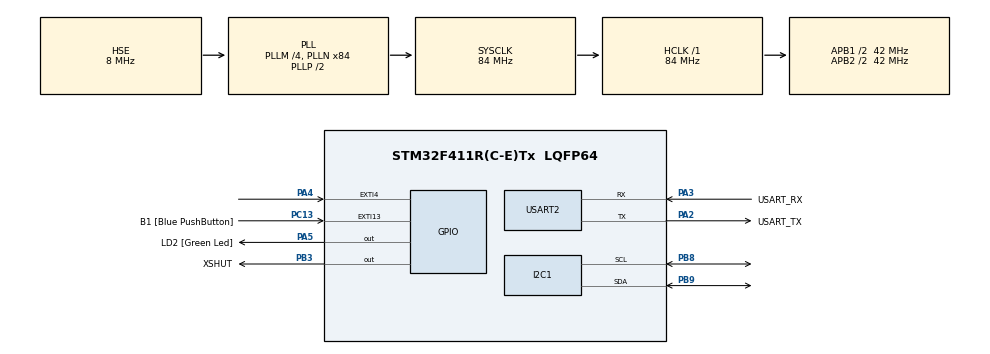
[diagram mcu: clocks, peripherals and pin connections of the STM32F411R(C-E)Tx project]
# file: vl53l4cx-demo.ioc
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Mcu.Family=STM32F4
RCC.PLLSourceVirtual=RCC_PLLSOURCE_HSE
PC15-OSC32_OUT.Mode=LSE-External-Oscillator
NVIC.EXTI4_IRQn=true\:1\:0\:true\:false\:true\:true\:true
RCC.CortexFreq_Value=84000000
PC13-ANTI_TAMP.GPIO_Label=B1 [Blue PushButton]
PA14.GPIO_Label=TCK
PH1\ -\ OSC_OUT.Mode=HSE-External-Clock-Source
RCC.APB1CLKDivider=RCC_HCLK_DIV2
PC14-OSC32_IN.Signal=RCC_OSC32_IN
RCC.SYSCLKSource=RCC_SYSCLKSOURCE_PLLCLK
ProjectManager.StackSize=0x400
PA13.Signal=SYS_JTMS-SWDIO
PA3.Mode=Asynchronous
PH0\ -\ OSC_IN.Mode=HSE-External-Clock-Source
PH0\ -\ OSC_IN.Signal=RCC_OSC_IN
ProjectManager.TargetToolchain=STM32CubeIDE
I2C1.I2C_Mode=I2C_Standard
RCC.HCLKFreq_Value=84000000
PB9.Mode=I2C
RCC.APB2TimFreq_Value=84000000
PC15-OSC32_OUT.Signal=RCC_OSC32_OUT
RCC.AHBFreq_Value=84000000
PA5.Signal=GPIO_Output
RCC.HSE_VALUE=8000000
PH1\ -\ OSC_OUT.Signal=RCC_OSC_OUT
board=NUCLEO-F411RE
PC13-ANTI_TAMP.Signal=GPXTI13
RCC.VCOOutputFreq_Value=168000000
RCC.APB2Freq_Value=42000000
PC14-OSC32_IN.Mode=LSE-External-Oscillator
PA14.Mode=Serial_Wire
PA13.Mode=Serial_Wire
Mcu.Name=STM32F411R(C-E)Tx
PA2.Signal=USART2_TX
PA13.GPIO_Label=TMS
RCC.FLatency-AdvancedSettings=FLASH_LATENCY_2
RCC.48MHZClocksFreq_Value=42000000
PB3.Signal=GPIO_Output
PA4.Signal=GPXTI4
RCC.SYSCLKFreq_VALUE=84000000
Mcu.Package=LQFP64
PB9.Signal=I2C1_SDA
PA5.GPIO_Label=LD2 [Green Led]
USART2.VirtualMode=VM_ASYNC
PC13-ANTI_TAMP.GPIO_ModeDefaultEXTI=GPIO_MODE_IT_FALLING
PA2.GPIO_Label=USART_TX
PA14.Signal=SYS_JTCK-SWCLK
ProjectManager.HeapSize=0x200
RCC.HSI_VALUE=16000000
NVIC.PriorityGroup=NVIC_PRIORITYGROUP_4
RCC.APB2CLKDivider=RCC_HCLK_DIV2
RCC.PLLM=4
PB8.Mode=I2C
RCC.PLLN=84
RCC.APB1TimFreq_Value=84000000
PA2.Mode=Asynchronous
PB8.Signal=I2C1_SCL
RCC.APB1Freq_Value=42000000
PA3.GPIO_Label=USART_RX
PA3.Signal=USART2_RX
PB3.GPIO_Label=XSHUT

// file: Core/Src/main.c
/* USER CODE BEGIN Header */
/**
 ******************************************************************************
 * @file           : main.c
 * @brief          : Main program body
 ******************************************************************************
 * @attention
 *
 * <h2><center>&copy; Copyright (c) 2022 STMicroelectronics.
 * All rights reserved.</center></h2>
 *
 * This software component is licensed by ST under BSD 3-Clause license,
 * the "License"; You may not use this file except in compliance with the
 * License. You may obtain a copy of the License at:
 *                        opensource.org/licenses/BSD-3-Clause
 *
 ******************************************************************************
 */
/* USER CODE END Header */
#include "main.h"
#include "gpio.h"
#include "i2c.h"
#include "usart.h"

/* USER CODE BEGIN Includes */
#include "vl53lx_api.h"
/* USER CODE END Includes */

void SystemClock_Config(void);
/* USER CODE BEGIN PFP */
void RangingLoop(VL53LX_DEV Dev);
/* USER CODE END PFP */

/* USER CODE BEGIN 0 */

int fputc(int ch, FILE* f)
{
    HAL_UART_Transmit(&huart2, (uint8_t*)&ch, 1, 0xFFFF);
    return ch;
}

#define panic_and_stop(...) \
    do { \
        printf(__VA_ARGS__); \
        HAL_Delay(1000); \
    } while (1);

/* USER CODE END 0 */

int main(void)
{

    /* MCU Configuration--------------------------------------------------------*/

    /* Reset of all peripherals, Initializes the Flash interface and the Systick. */
    HAL_Init();

    /* Configure the system clock */
    SystemClock_Config();

    /* Initialize all configured peripherals */
    MX_GPIO_Init();
    MX_I2C1_Init();
    MX_USART2_UART_Init();
    /* USER CODE BEGIN 2 */

    // Init Dev to i2c1 and default i2c address
    static VL53LX_Dev_t dev; // takes 10872B of data, lets put it in static
    VL53LX_DEV pdev = &dev;
    pdev->I2cHandle = &hi2c1;
    pdev->I2cDevAddr = 0x52;

    printf("VL53L1X Example starting!\n\r");

    /*
        I'm not using the fancy "platform" code.
        This includes the commented code below (init reset).
        Also, it uses some kind of i2c expander,
        which I don't have on a nucleo board or
        VL53L4CX arduino shield. It just has integrated
        sensors and two headers for two more. Nothing else.
        The purpose is to toggle the reset pin to get
        the sensor in correct state. Let's just use the GPIO.
    */
    // uint8_t ToFSensor = 1; // Select ToFSensor: 0=Left, 1=Center, 2=Right
    // status = XNUCLEO53L3A2_ResetId(ToFSensor, 0); // Reset ToF sensor
    // HAL_Delay(2);
    // status = XNUCLEO53L3A2_ResetId(ToFSensor, 1); // Reset ToF sensor
    // HAL_Delay(2);

    HAL_GPIO_WritePin(XSHUT_GPIO_Port, XSHUT_Pin, 0);
    HAL_Delay(2);
    HAL_GPIO_WritePin(XSHUT_GPIO_Port, XSHUT_Pin, 1);
    HAL_Delay(2);

    // Init
    uint8_t status = VL53LX_WaitDeviceBooted(pdev);
    if (status || VL53LX_DataInit(pdev))
    {
        panic_and_stop("Init failed!");
    }

    // Read sensor information
    uint8_t byteData = 0;
    uint16_t wordData = 0;
    VL53LX_RdByte(pdev, 0x010F, &byteData);
    printf("VL53LX Model_ID: %02X\n\r", byteData);
    VL53LX_RdByte(pdev, 0x0110, &byteData);
    printf("VL53LX Module_Type: %02X\n\r", byteData);
    VL53LX_RdWord(pdev, 0x010F, &wordData);
    printf("VL53LX: %02X\n\r", wordData);

    // Corrections and calibrations (non interactive)
    if (VL53LX_SmudgeCorrectionEnable(pdev, VL53LX_SMUDGE_CORRECTION_CONTINUOUS))
    {
        panic_and_stop("Smudge correction enable failed!");
    }
    if (VL53LX_SetXTalkCompensationEnable(pdev, 1))
    {
        panic_and_stop("XTalk compensation enable failed!");
    }
    if (VL53LX_PerformXTalkCalibration(pdev))
    {
        panic_and_stop("XTalk calibration failed");
    }
    if (VL53LX_PerformRefSpadManagement(pdev))
    {
        panic_and_stop("RefSpad management failed!");
    }
    if (VL53LX_SetOffsetCorrectionMode(pdev, VL53LX_OFFSETCORRECTIONMODE_STANDARD))
    {
        panic_and_stop("Offset correction mode enable failed!");
    }
    // Interactive calibrations
    // Need a target at an accurate distance
    // if (VL53LX_PerformOffsetSimpleCalibration(pdev, 50))
    // {
    //     panic_and_stop("");
    // }
    // Use cover glass and a solid object touching it
    // if (VL53LX_PerformOffsetZeroDistanceCalibration(pdev))
    // {
    //     panic_and_stop("");
    // }

    // Main example application
    RangingLoop(pdev);

    /* USER CODE END 2 */

    /* Infinite loop */
    while (1)
    {

    }
}

void SystemClock_Config(void)
{
    RCC_OscInitTypeDef RCC_OscInitStruct = {0};
    RCC_ClkInitTypeDef RCC_ClkInitStruct = {0};

    /** Configure the main internal regulator output voltage
     */
    __HAL_RCC_PWR_CLK_ENABLE();
    __HAL_PWR_VOLTAGESCALING_CONFIG(PWR_REGULATOR_VOLTAGE_SCALE1);
    /** Initializes the RCC Oscillators according to the specified parameters
     * in the RCC_OscInitTypeDef structure.
     */
    RCC_OscInitStruct.OscillatorType = RCC_OSCILLATORTYPE_HSE;
    RCC_OscInitStruct.HSEState = RCC_HSE_BYPASS;
    RCC_OscInitStruct.PLL.PLLState = RCC_PLL_ON;
    RCC_OscInitStruct.PLL.PLLSource = RCC_PLLSOURCE_HSE;
    RCC_OscInitStruct.PLL.PLLM = 4;
    RCC_OscInitStruct.PLL.PLLN = 84;
    RCC_OscInitStruct.PLL.PLLP = RCC_PLLP_DIV2;
    RCC_OscInitStruct.PLL.PLLQ = 4;
    if (HAL_RCC_OscConfig(&RCC_OscInitStruct) != HAL_OK)
    {
        Error_Handler();
    }
    /** Initializes the CPU, AHB and APB buses clocks
     */
    RCC_ClkInitStruct.ClockType =
        RCC_CLOCKTYPE_HCLK | RCC_CLOCKTYPE_SYSCLK | RCC_CLOCKTYPE_PCLK1 | RCC_CLOCKTYPE_PCLK2;
    RCC_ClkInitStruct.SYSCLKSource = RCC_SYSCLKSOURCE_PLLCLK;
    RCC_ClkInitStruct.AHBCLKDivider = RCC_SYSCLK_DIV1;
    RCC_ClkInitStruct.APB1CLKDivider = RCC_HCLK_DIV2;
    RCC_ClkInitStruct.APB2CLKDivider = RCC_HCLK_DIV2;

    if (HAL_RCC_ClockConfig(&RCC_ClkInitStruct, FLASH_LATENCY_2) != HAL_OK)
    {
        Error_Handler();
    }
}

/* USER CODE BEGIN 4 */

void RangingLoop(VL53LX_DEV Dev)
{
    printf("Ranging loop starts\n\r");

    // Init sensor and start measurements
    int status = 0;
    status = VL53LX_StartMeasurement(Dev);
    if (status)
    {
        panic_and_stop("VL53LX_StartMeasurement failed: error = %d \n\r", status);
    }

    while (1)
    {
        VL53LX_MultiRangingData_t MultiRangingData;
        VL53LX_MultiRangingData_t* pMultiRangingData = &MultiRangingData;
        size_t no_of_object_found = 0;
        uint8_t NewDataReady = 0;

        // Poll for conversion
        status = VL53LX_GetMeasurementDataReady(Dev, &NewDataReady);
        HAL_Delay(1); // 1 ms polling period, could be longer.
        if (!(!status && (NewDataReady != 0)))
        {
            continue;
        }

        // Get state and number of found objects, some may be failed on each run
        status = VL53LX_GetMultiRangingData(Dev, pMultiRangingData);
        no_of_object_found = pMultiRangingData->NumberOfObjectsFound;

        // Get indices and of good objects and sum them up
        size_t no_of_good_object_found = 0;
        size_t good_object_indices[no_of_object_found];
        for (size_t i = 0; i < no_of_object_found; ++i)
        {
            size_t const good = pMultiRangingData->RangeData[i].RangeStatus == 0;
            no_of_good_object_found += good;
            good_object_indices[i] = good;
        }

        // Loop over found objects and only print valid ones
        size_t no_of_good_object_downcounter = no_of_good_object_found;
        for (size_t i = 0; i < no_of_object_found; ++i)
        {
            if (good_object_indices[i] != 0)
            {
                if (no_of_good_object_downcounter == no_of_good_object_found)
                {
                    // Print header line
                    printf(
                        "Count=%5d, #Objs=%1d: ",
                        pMultiRangingData->StreamCount,
                        no_of_good_object_found);
                }
                else
                {
                    // Space for second found object
                    printf("                      ");
                }
                --no_of_good_object_downcounter;
                printf(
                    "Object number: %1u, status=%2u, D=%5dmm, Signal=%2.2f Mcps, "
                    "Ambient=%2.2f Mcps\n\r",
                    i,
                    pMultiRangingData->RangeData[i].RangeStatus,
                    pMultiRangingData->RangeData[i].RangeMilliMeter,
                    pMultiRangingData->RangeData[i].SignalRateRtnMegaCps / 65536.0,
                    pMultiRangingData->RangeData[i].AmbientRateRtnMegaCps / 65536.0);
            }
        }
        if (status == 0)
        {
            status = VL53LX_ClearInterruptAndStartMeasurement(Dev);
        }
    }
}

/* USER CODE END 4 */

void Error_Handler(void)
{
    __disable_irq();
    while (1)
    {
    }
}

/************************ (C) COPYRIGHT STMicroelectronics *****END OF FILE****/
